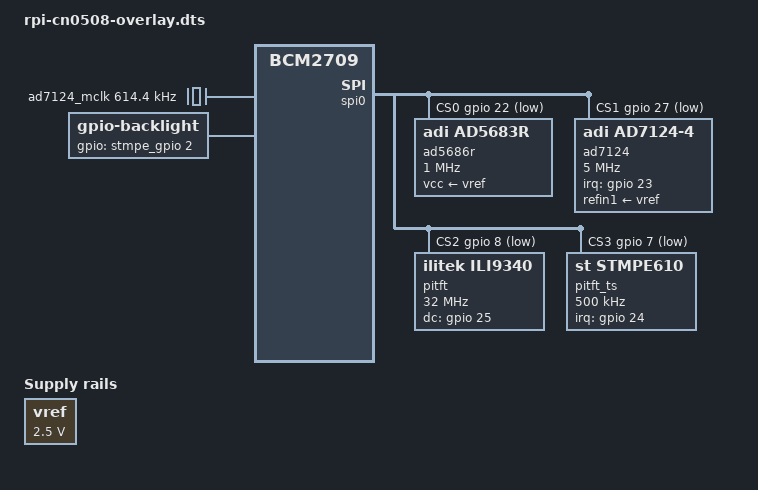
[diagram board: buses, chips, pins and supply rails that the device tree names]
// SPDX-License-Identifier: GPL-2.0
/dts-v1/;
/plugin/;

/ {
	compatible = "brcm,bcm2835", "brcm,bcm2708", "brcm,bcm2709";

	__overrides__ {
		cs0_pin  = <&spi0_cs_pins>, "brcm,pins:0",
			   <&spi0>, "cs-gpios:4";
		cs1_pin  = <&spi0_cs_pins>, "brcm,pins:4",
			   <&spi0>, "cs-gpios:16";
		cs2_pin	=  <&spi0_cs_pins>, "brcm,pins:8",
			   <&spi0>, "cs-gpios:28";
		cs3_pin	=  <&spi0_cs_pins>, "brcm,pins:12",
			   <&spi0>, "cs-gpios:40";

		speed = <&pitft>, "spi-max-frequency:0";
		rotate = <&pitft>, "rotate:0";
		fps = <&pitft>, "fps:0";
		debug = <&pitft>, "debug:0";
	};
};

&spi0_cs_pins {
	brcm,pins = <22 27 8 7>;
	brcm,function = <1>; /* output */
};

&spi0 {
	cs-gpios = <&gpio 22 1>, <&gpio 27 1>,
		<&gpio 8 1>, <&gpio 7 1>;
	status = "okay";
};

&{/} {
	vref: fixedregulator@0 {
		compatible = "regulator-fixed";
		regulator-name = "fixed-supply";
		regulator-min-microvolt = <2500000>;
		regulator-max-microvolt = <2500000>;
		regulator-boot-on;
	};
};

&{/} {
	clocks {
		ad7124_mclk: clock@0 {
			#clock-cells = <0>;
			compatible = "fixed-clock";
			clock-frequency = <614400>;
		};
	};
};

&spi0 {
	#address-cells = <1>;
	#size-cells = <0>;
	status = "okay";

	ad5686r@0 {
		compatible = "adi,ad5683r";
		reg = <0>;
		spi-max-frequency = <1000000>;
		spi-cpha;
		vcc-supply = <&vref>;
	};
};

&spi0 {
	#address-cells = <1>;
	#size-cells = <0>;
	status = "okay";

	ad7124@1 {
		compatible = "adi,ad7124-4";
		reg = <1>;
		spi-max-frequency = <5000000>;
		interrupts = <23 2>;
		interrupt-parent = <&gpio>;
		refin1-supply = <&vref>;
		clocks = <&ad7124_mclk>;
		clock-names = "mclk";

		#address-cells = <1>;
		#size-cells = <0>;

		channel@0 {
			reg = <0>;
			diff-channels = <0 19>;
			adi,reference-select = <0>;
		};

		channel@1 {
			reg = <1>;
			diff-channels = <1 19>;
			adi,reference-select = <0>;
		};

		channel@2 {
			reg = <2>;
			diff-channels = <2 19>;
			adi,reference-select = <0>;
		};

		channel@3 {
			reg = <3>;
			diff-channels = <3 19>;
			adi,reference-select = <0>;
		};

		channel@4 {
			reg = <4>;
			diff-channels = <4 19>;
			adi,reference-select = <0>;
		};

		channel@5 {
			reg = <5>;
			diff-channels = <5 19>;
			adi,reference-select = <0>;
		};

		channel@6 {
			reg = <6>;
			diff-channels = <6 19>;
			adi,reference-select = <0>;
		};

		channel@7 {
			reg = <7>;
			diff-channels = <7 19>;
			adi,reference-select = <0>;
		};
	};
};

&spidev0 {
	status = "disabled";
};

&spidev1 {
	status = "disabled";
};

&gpio {
	pitft_pins: pitft_pins {
		brcm,pins = <24 25>;
		brcm,function = <0 1>; /* in out */
		brcm,pull = <2 0>; /* pullup none */
	};
};

&spi0 {
	/* needed to avoid dtc warning */
	#address-cells = <1>;
	#size-cells = <0>;

	pitft: pitft@2 {
		compatible = "ilitek,ili9340";
		reg = <2>;
		pinctrl-names = "default";
		pinctrl-0 = <&pitft_pins>;

		spi-max-frequency = <32000000>;
		rotate = <90>;
		fps = <25>;
		bgr;
		buswidth = <8>;
		dc-gpios = <&gpio 25 0>;
		debug = <0>;
	};

	pitft_ts@3 {
		compatible = "st,stmpe610";
		reg = <3>;

		spi-max-frequency = <500000>;
		irq-gpio = <&gpio 24 0x2>; /* IRQF_TRIGGER_FALLING */
		interrupts = <24 2>; /* high-to-low edge triggered */
		interrupt-parent = <&gpio>;
		interrupt-controller;

		stmpe_touchscreen {
			compatible = "st,stmpe-ts";
			st,sample-time = <4>;
			st,mod-12b = <1>;
			st,ref-sel = <0>;
			st,adc-freq = <2>;
			st,ave-ctrl = <3>;
			st,touch-det-delay = <4>;
			st,settling = <2>;
			st,fraction-z = <7>;
			st,i-drive = <0>;
		};

		stmpe_gpio: stmpe_gpio {
			#gpio-cells = <2>;
			compatible = "st,stmpe-gpio";
			/*
			 * only GPIO2 is wired/available
			 * and it is wired to the backlight
			 */
			st,norequest-mask = <0x7b>;
		};
	};
};

&{/soc} {
	backlight {
		compatible = "gpio-backlight";
		gpios = <&stmpe_gpio 2 0>;
		default-on;
	};
};
